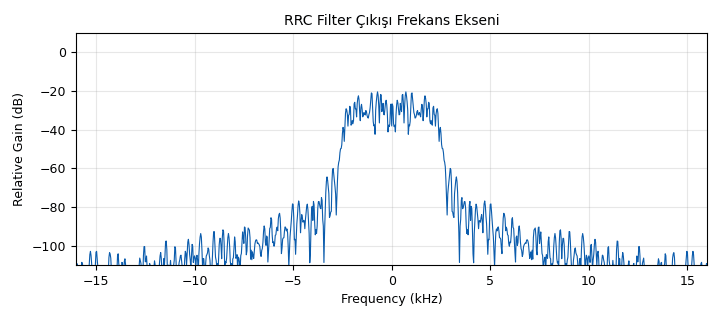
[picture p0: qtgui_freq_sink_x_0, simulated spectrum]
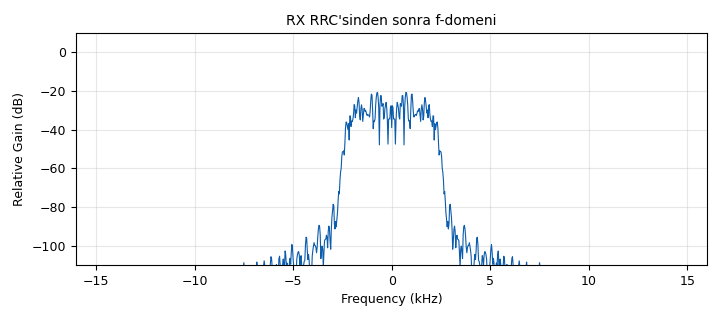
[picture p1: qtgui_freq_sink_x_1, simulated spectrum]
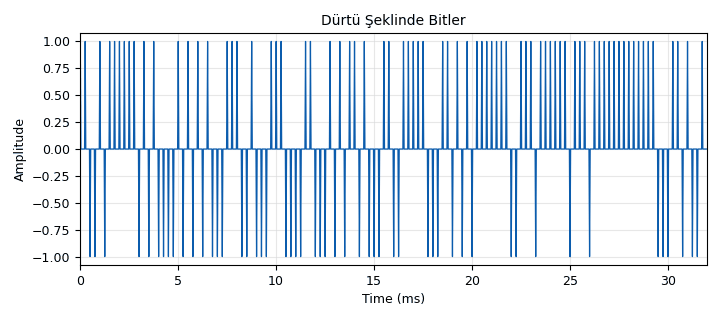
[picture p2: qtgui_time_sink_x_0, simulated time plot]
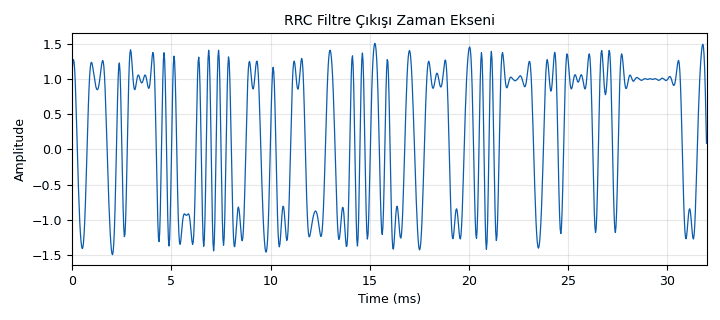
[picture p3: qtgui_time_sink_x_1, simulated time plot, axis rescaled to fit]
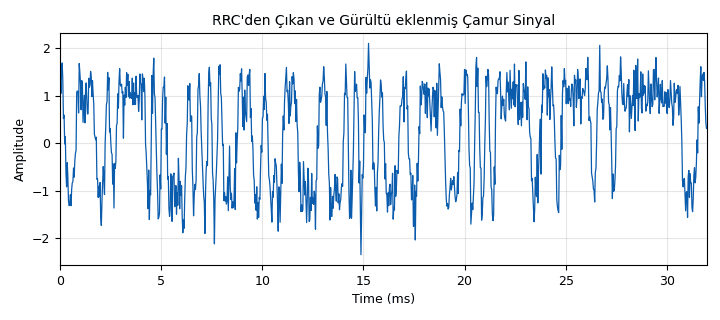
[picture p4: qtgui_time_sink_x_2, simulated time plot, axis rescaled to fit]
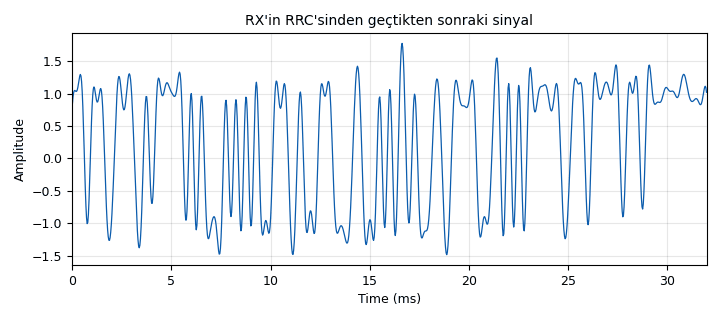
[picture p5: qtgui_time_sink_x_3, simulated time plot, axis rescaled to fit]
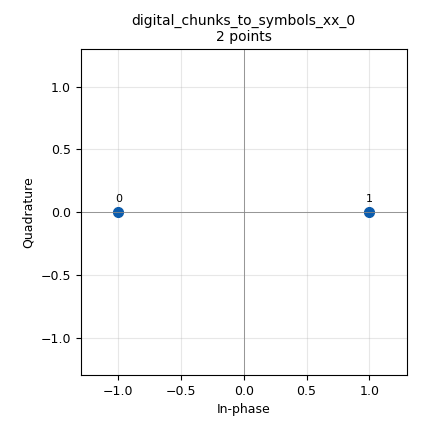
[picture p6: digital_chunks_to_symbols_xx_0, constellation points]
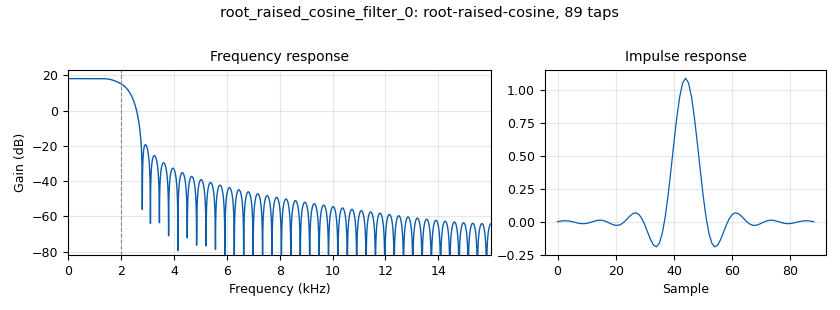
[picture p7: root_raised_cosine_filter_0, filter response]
options:
  parameters:
    author: Pc
    generate_options: qt_gui
    id: RRC_try
    output_language: python
    title: Not titled yet
  states: {}

blocks:
- name: alfa
  id: variable
  parameters:
    value: '0.35'
  states: {}
- name: nfilts
  id: variable
  parameters:
    value: int(11 * sps + 1)
  states: {}
- name: samp_rate
  id: variable
  parameters:
    value: '32000'
  states: {}
- name: sps
  id: variable
  parameters:
    value: '8'
  states: {}
- name: symbol_rate
  id: variable
  parameters:
    value: samp_rate/sps
  states: {}
- name: analog_noise_source_x_0
  id: analog_noise_source_x
  parameters:
    amp: '0.3'
    noise_type: analog.GR_GAUSSIAN
    seed: '0'
    type: float
  states: {}
- name: analog_random_source_x_0
  id: analog_random_source_x
  parameters:
    max: '2'
    min: '0'
    num_samps: '1000'
    repeat: 'True'
    type: byte
  states: {}
- name: blocks_add_xx_0
  id: blocks_add_xx
  parameters:
    type: float
  states: {}
- name: blocks_char_to_float_0
  id: blocks_char_to_float
  parameters:
    scale: '1'
  states: {}
- name: blocks_keep_one_in_n_0
  id: blocks_keep_one_in_n
  parameters:
    n: sps
    type: float
  states: {}
- name: blocks_repeat_0
  id: blocks_repeat
  parameters:
    interp: sps
    type: float
  states: {}
- name: blocks_repeat_0_0
  id: blocks_repeat
  parameters:
    interp: sps
    type: float
  states: {}
- name: blocks_skiphead_0
  id: blocks_skiphead
  parameters:
    num_items: '88'
    type: float
  states: {}
- name: digital_binary_slicer_fb_0
  id: digital_binary_slicer_fb
  parameters: {}
  states: {}
- name: digital_chunks_to_symbols_xx_0
  id: digital_chunks_to_symbols_xx
  parameters:
    dimension: '1'
    in_type: byte
    out_type: float
    symbol_table: '[-1.0, 1.0]'
  states: {}
- name: interp_fir_filter_xxx_0
  id: interp_fir_filter_xxx
  parameters:
    interp: sps
    taps: '[1]'
    type: fff
  states: {}
- name: qtgui_freq_sink_x_0
  id: qtgui_freq_sink_x
  parameters:
    bw: samp_rate
    fc: '0'
    fftsize: '1024'
    gui_hint: 1,1
    name: '"RRC Filter Çıkışı Frekans Ekseni"'
    type: float
    ymin: '-110'
  states: {}
- name: qtgui_freq_sink_x_1
  id: qtgui_freq_sink_x
  parameters:
    bw: samp_rate
    fc: '0'
    fftsize: '1024'
    gui_hint: 2,2
    name: '"RX RRC''sinden sonra f-domeni"'
    type: float
    ymin: '-110'
  states: {}
- name: qtgui_time_sink_x_0
  id: qtgui_time_sink_x
  parameters:
    gui_hint: 0,1
    name: '"Dürtü Şeklinde Bitler"'
    size: '1024'
    srate: samp_rate
    type: float
  states: {}
- name: qtgui_time_sink_x_1
  id: qtgui_time_sink_x
  parameters:
    gui_hint: 1,0
    name: '"RRC Filtre Çıkışı Zaman Ekseni"'
    size: '1024'
    srate: samp_rate
    type: float
  states: {}
- name: qtgui_time_sink_x_2
  id: qtgui_time_sink_x
  parameters:
    gui_hint: 2,0
    name: '"RRC''den Çıkan ve Gürültü eklenmiş Çamur Sinyal"'
    size: '1024'
    srate: samp_rate
    type: float
  states: {}
- name: qtgui_time_sink_x_3
  id: qtgui_time_sink_x
  parameters:
    gui_hint: 2,1
    name: '"RX''in RRC''sinden geçtikten sonraki sinyal"'
    size: '1024'
    srate: samp_rate
    type: float
  states: {}
- name: qtgui_time_sink_x_4
  id: qtgui_time_sink_x
  parameters:
    gui_hint: 3,0
    name: '"Örneklenen Karar Noktaları"'
    size: '100'
    srate: samp_rate
    stemplot: 'True'
    type: float
  states: {}
- name: qtgui_time_sink_x_5
  id: qtgui_time_sink_x
  parameters:
    gui_hint: '[0,0]'
    name: '"Orijinal Kare Dalgalar (Tx)"'
    size: '1024'
    srate: samp_rate
    type: float
  states: {}
- name: qtgui_time_sink_x_6
  id: qtgui_time_sink_x
  parameters:
    gui_hint: 3,1
    name: '"Kurtarilan Kare Dalgalar (Rx)"'
    size: '1024'
    srate: samp_rate
    type: float
  states: {}
- name: root_raised_cosine_filter_0
  id: root_raised_cosine_filter
  parameters:
    alpha: alfa
    decim: '1'
    gain: sps
    ntaps: nfilts
    samp_rate: samp_rate
    sym_rate: symbol_rate
    type: fir_filter_fff
  states: {}
- name: root_raised_cosine_filter_0_0
  id: root_raised_cosine_filter
  parameters:
    alpha: alfa
    decim: '1'
    gain: '1'
    ntaps: nfilts
    samp_rate: samp_rate
    sym_rate: symbol_rate
    type: fir_filter_fff
  states: {}

connections:
- [analog_noise_source_x_0, '0', blocks_add_xx_0, '1']
- [analog_random_source_x_0, '0', digital_chunks_to_symbols_xx_0, '0']
- [blocks_add_xx_0, '0', qtgui_time_sink_x_2, '0']
- [blocks_add_xx_0, '0', root_raised_cosine_filter_0_0, '0']
- [blocks_char_to_float_0, '0', blocks_repeat_0_0, '0']
- [blocks_keep_one_in_n_0, '0', digital_binary_slicer_fb_0, '0']
- [blocks_keep_one_in_n_0, '0', qtgui_time_sink_x_4, '0']
- [blocks_repeat_0, '0', qtgui_time_sink_x_5, '0']
- [blocks_repeat_0_0, '0', qtgui_time_sink_x_6, '0']
- [blocks_skiphead_0, '0', blocks_keep_one_in_n_0, '0']
- [digital_binary_slicer_fb_0, '0', blocks_char_to_float_0, '0']
- [digital_chunks_to_symbols_xx_0, '0', blocks_repeat_0, '0']
- [digital_chunks_to_symbols_xx_0, '0', interp_fir_filter_xxx_0, '0']
- [interp_fir_filter_xxx_0, '0', qtgui_time_sink_x_0, '0']
- [interp_fir_filter_xxx_0, '0', root_raised_cosine_filter_0, '0']
- [root_raised_cosine_filter_0, '0', blocks_add_xx_0, '0']
- [root_raised_cosine_filter_0, '0', qtgui_freq_sink_x_0, '0']
- [root_raised_cosine_filter_0, '0', qtgui_time_sink_x_1, '0']
- [root_raised_cosine_filter_0_0, '0', blocks_skiphead_0, '0']
- [root_raised_cosine_filter_0_0, '0', qtgui_freq_sink_x_1, '0']
- [root_raised_cosine_filter_0_0, '0', qtgui_time_sink_x_3, '0']

metadata:
  file_format: 1
  grc_version: 3.10.12.0
